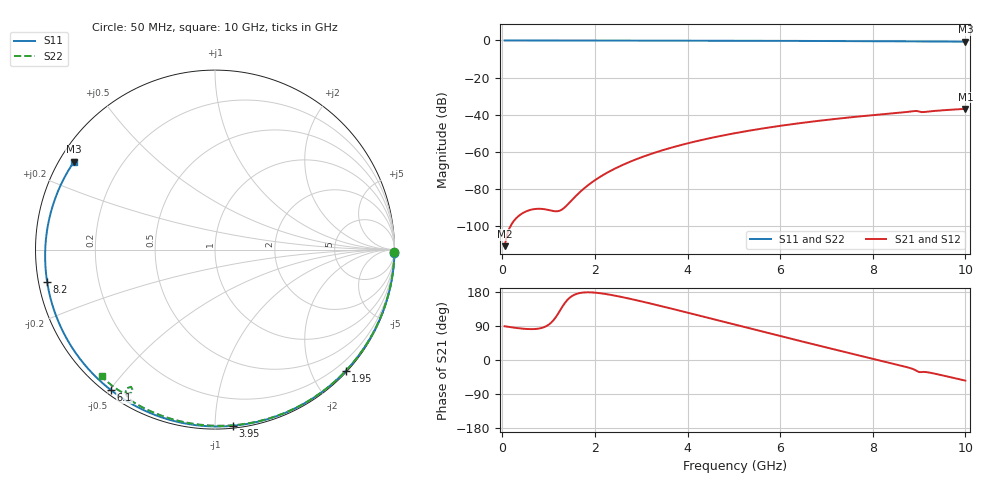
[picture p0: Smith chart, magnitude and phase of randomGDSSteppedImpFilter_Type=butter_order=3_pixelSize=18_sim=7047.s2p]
! freq	dB(S11)	phase(S11)	dB(S12)	phase(S12)
!  dB(S21)	phase(S21)	dB(S22)	phase(S22)
!S-par simulation data
#  GHz  S  DB  R 50
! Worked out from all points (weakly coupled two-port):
!   200 points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, 50 MHz to 10 GHz, reference 50 ohm
!   highest |S21| = -36.88 dB at 10 GHz (marker M1); lowest = -110.9 dB at 50 MHz (marker M2)
!   lowest |S11| = -0.7 dB at 10 GHz (marker M3), VSWR 26.08, Z = 2.07 + j14.3 ohm
!   |S11| at or under -10 dB: nowhere
!   |S22| runs from -1.0 to 0.0 dB; largest |S21 - S12| = 0
!   S11 on the Smith chart (normalised r, x): 50 MHz: open; 1.95 GHz: 0.02, -2.55; 3.95 GHz: 0.01, -1.10; 6.1 GHz: 0.02, -0.50; 8.2 GHz: 0.02, -0.10; 10 GHz: 0.04, +0.29
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0.05  -0.00 -1.1  -110.93 89.0  -110.93 89.0  -0.00 -0.8
0.85  -0.02 -19.0  -90.81 84.6  -90.81 84.6  -0.02 -12.9
1.75  -0.05 -38.6  -80.12 178.1  -80.12 178.1  -0.03 -26.4
1.95  -0.05 -42.9  -76.23 178.2  -76.23 178.2  -0.04 -29.3
2.25  -0.06 -49.3  -71.51 173.8  -71.51 173.8  -0.04 -33.7
2.6  -0.07 -56.7  -67.12 165.7  -67.12 165.7  -0.05 -38.8
3  -0.08 -65.0  -63.04 154.8  -63.04 154.8  -0.06 -44.5
3.4  -0.10 -73.2  -59.66 143.1  -59.66 143.1  -0.07 -50.2
3.95  -0.12 -84.3  -55.80 126.5  -55.80 126.5  -0.08 -57.8
4.5  -0.14 -95.2  -52.60 109.6  -52.60 109.6  -0.09 -65.3
5.05  -0.16 -106.0  -49.89 92.6  -49.89 92.6  -0.11 -72.6
6.1  -0.23 -126.4  -45.69 60.3  -45.69 60.3  -0.15 -86.2
6.7  -0.27 -138.2  -43.73 42.0  -43.73 42.0  -0.18 -93.7
7.5  -0.35 -154.2  -41.50 18.0  -41.50 18.0  -0.22 -103.4
8.2  -0.42 -168.9  -39.82 -2.7  -39.82 -2.7  -0.27 -111.9
8.35  -0.44 -172.2  -39.48 -7.1  -39.48 -7.1  -0.28 -113.7
8.75  -0.49 178.9  -38.53 -19.3  -38.53 -19.3  -0.34 -119.2
8.9  -0.51 175.4  -38.07 -25.5  -38.07 -25.5  -0.53 -122.0
9  -0.52 173.1  -38.32 -31.8  -38.32 -31.8  -0.95 -121.5
9.05  -0.53 171.9  -38.62 -31.9  -38.62 -31.9  -0.84 -120.2
9.2  -0.55 168.3  -38.32 -32.7  -38.32 -32.7  -0.51 -121.8
10  -0.67 148.0  -36.88 -54.4  -36.88 -54.4  -0.47 -131.9
